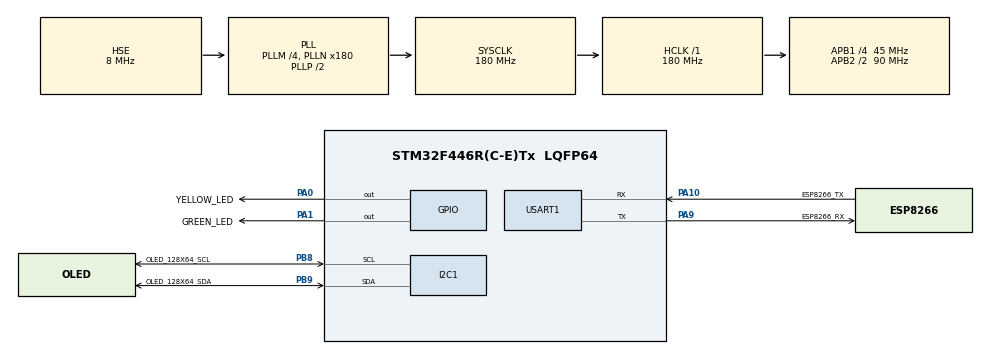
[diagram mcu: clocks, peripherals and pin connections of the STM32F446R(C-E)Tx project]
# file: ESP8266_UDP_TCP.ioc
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Dma.Request0=USART1_RX
Dma.USART1_RX.0.Direction=DMA_PERIPH_TO_MEMORY
Dma.USART1_RX.0.FIFOMode=DMA_FIFOMODE_DISABLE
Dma.USART1_RX.0.Instance=DMA2_Stream2
Dma.USART1_RX.0.MemDataAlignment=DMA_MDATAALIGN_BYTE
Dma.USART1_RX.0.MemInc=DMA_MINC_ENABLE
Dma.USART1_RX.0.Mode=DMA_NORMAL
Dma.USART1_RX.0.PeriphDataAlignment=DMA_PDATAALIGN_BYTE
Dma.USART1_RX.0.PeriphInc=DMA_PINC_DISABLE
Dma.USART1_RX.0.Priority=DMA_PRIORITY_LOW
I2C1.I2C_Mode=I2C_Fast
Mcu.Family=STM32F4
Mcu.Name=STM32F446R(C-E)Tx
Mcu.Package=LQFP64
NVIC.DMA2_Stream2_IRQn=true\:0\:0\:false\:false\:true\:false\:true\:true
NVIC.PriorityGroup=NVIC_PRIORITYGROUP_0
NVIC.RCC_IRQn=true\:0\:0\:false\:false\:true\:true\:false\:true
NVIC.USART1_IRQn=true\:0\:0\:false\:false\:true\:true\:true\:true
PA0-WKUP.GPIO_Label=YELLOW_LED
PA0-WKUP.Signal=GPIO_Output
PA1.GPIO_Label=GREEN_LED
PA1.Signal=GPIO_Output
PA10.GPIO_Label=ESP8266_TX
PA10.Mode=Asynchronous
PA10.Signal=USART1_RX
PA9.GPIO_Label=ESP8266_RX
PA9.Mode=Asynchronous
PA9.Signal=USART1_TX
PB8.GPIO_Label=OLED_128X64_SCL
PB8.Mode=I2C
PB8.Signal=I2C1_SCL
PB9.GPIO_Label=OLED_128X64_SDA
PB9.Mode=I2C
PB9.Signal=I2C1_SDA
PC14-OSC32_IN.Mode=LSE-External-Oscillator
PC14-OSC32_IN.Signal=RCC_OSC32_IN
PC15-OSC32_OUT.Mode=LSE-External-Oscillator
PC15-OSC32_OUT.Signal=RCC_OSC32_OUT
PH0-OSC_IN.Mode=HSE-External-Oscillator
PH0-OSC_IN.Signal=RCC_OSC_IN
PH1-OSC_OUT.Mode=HSE-External-Oscillator
PH1-OSC_OUT.Signal=RCC_OSC_OUT
ProjectManager.HeapSize=0x200
ProjectManager.StackSize=0x400
ProjectManager.TargetToolchain=STM32CubeIDE
RCC.48MHZClocksFreq_Value=84000000
RCC.AHBFreq_Value=180000000
RCC.APB1CLKDivider=RCC_HCLK_DIV4
RCC.APB1Freq_Value=45000000
RCC.APB1TimFreq_Value=90000000
RCC.APB2CLKDivider=RCC_HCLK_DIV2
RCC.APB2Freq_Value=90000000
RCC.APB2TimFreq_Value=180000000
RCC.CortexFreq_Value=180000000
RCC.FLatency-AdvancedSettings=FLASH_LATENCY_5
RCC.HCLKFreq_Value=180000000
RCC.HSE_VALUE=8000000
RCC.HSI_VALUE=16000000
RCC.PLLM=4
RCC.PLLN=180
RCC.PLLSourceVirtual=RCC_PLLSOURCE_HSE
RCC.SYSCLKFreq_VALUE=180000000
RCC.SYSCLKSource=RCC_SYSCLKSOURCE_PLLCLK
RCC.USBFreq_Value=180000000
RCC.VCOOutputFreq_Value=360000000
USART1.VirtualMode=VM_ASYNC
board=NUCLEO-F446RE

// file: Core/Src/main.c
/* USER CODE BEGIN Header */
/**
 ******************************************************************************
 * @file           : main.c
 * @brief          : Main program body
 ******************************************************************************
 * @attention
 *
 * Copyright (c) 2023 STMicroelectronics.
 * All rights reserved.
 *
 * This software is licensed under terms that can be found in the LICENSE file
 * in the root directory of this software component.
 * If no LICENSE file comes with this software, it is provided AS-IS.
 *
 ******************************************************************************
 */
/* USER CODE END Header */
#include "main.h"

/* USER CODE BEGIN Includes */
#include "ssd1306.h"
#include "fonts.h"
#include "esp8266.h"
#include <string.h>
#include <stdio.h>
/* USER CODE END Includes */

/* USER CODE BEGIN PD */

Control_Panel_Type panel={0};

/* USER CODE END PD */

/* USER CODE BEGIN PM */
extern char IP_Address[13];
/* USER CODE END PM */

I2C_HandleTypeDef hi2c1;
UART_HandleTypeDef huart1;
DMA_HandleTypeDef hdma_usart1_rx;

void SystemClock_Config(void);
static void MX_GPIO_Init(void);
static void MX_DMA_Init(void);
static void MX_USART1_UART_Init(void);
static void MX_I2C1_Init(void);

/* USER CODE BEGIN 0 */

extern int Command_Flag;

/* USER CODE END 0 */

int main(void)
{

  /* MCU Configuration--------------------------------------------------------*/

  /* Reset of all peripherals, Initializes the Flash interface and the Systick. */
  HAL_Init();

  /* Configure the system clock */
  SystemClock_Config();

  /* Initialize all configured peripherals */
  MX_GPIO_Init();
  MX_DMA_Init();
  MX_USART1_UART_Init();
  MX_I2C1_Init();
  /* USER CODE BEGIN 2 */
	JoinWifiNewtwork();               /*Connect to a WiFi access points*/
	Esp_Init_Com();
	if (ssd1306_Init(&hi2c1) != 0)
	{
		Error_Handler();
	}

	HAL_Delay(1000);
	ssd1306_Fill(Black);
	ssd1306_SetCursor(10, 0);
	ssd1306_WriteString("ASK EDISON", Font_11x18, White);
	ssd1306_SetCursor(30,30);
	ssd1306_WriteString("DO IT", Font_11x18, White);
	ssd1306_UpdateScreen(&hi2c1);
	HAL_Delay(5000);
	EspTcpServer();
  /* USER CODE END 2 */

  /* Infinite loop */
	while (1)
	{

    /* USER CODE BEGIN 3 */
		switch(Command_Flag)
		{
		case 0:
			ssd1306_Fill(Black);
			ssd1306_SetCursor(10,0);
			ssd1306_WriteString("TCP SERVER", Font_11x18,White);
			ssd1306_SetCursor(20,20);
			ssd1306_WriteString(IP_Address, Font_7x10, White);
			ssd1306_UpdateScreen(&hi2c1);
			break;
		case 1:
			ssd1306_Fill(Black);
			ssd1306_SetCursor(25,30);
			ssd1306_WriteString("CONNECTED!", Font_11x18,White);
			ssd1306_UpdateScreen(&hi2c1);
			break;
		case 2:
			Control_Panel(&panel);
			break;
		case 3:
			Control_Panel(&panel);
			break;
		case 4:
			ssd1306_Fill(Black);
			ssd1306_SetCursor(20,0);
			ssd1306_WriteString("OFFLINE!", Font_11x18,White);
			ssd1306_SetCursor(0,20);
			ssd1306_WriteString("CONNECT TO!", Font_11x18,White);
			ssd1306_SetCursor(10,50);
			ssd1306_WriteString(IP_Address, Font_7x10, White);
			ssd1306_UpdateScreen(&hi2c1);
			break;
		}
	}
  /* USER CODE END 3 */
}

void SystemClock_Config(void)
{
  RCC_OscInitTypeDef RCC_OscInitStruct = {0};
  RCC_ClkInitTypeDef RCC_ClkInitStruct = {0};

  /** Configure the main internal regulator output voltage
  */
  __HAL_RCC_PWR_CLK_ENABLE();
  __HAL_PWR_VOLTAGESCALING_CONFIG(PWR_REGULATOR_VOLTAGE_SCALE1);

  /** Initializes the RCC Oscillators according to the specified parameters
  * in the RCC_OscInitTypeDef structure.
  */
  RCC_OscInitStruct.OscillatorType = RCC_OSCILLATORTYPE_HSE;
  RCC_OscInitStruct.HSEState = RCC_HSE_ON;
  RCC_OscInitStruct.PLL.PLLState = RCC_PLL_ON;
  RCC_OscInitStruct.PLL.PLLSource = RCC_PLLSOURCE_HSE;
  RCC_OscInitStruct.PLL.PLLM = 4;
  RCC_OscInitStruct.PLL.PLLN = 180;
  RCC_OscInitStruct.PLL.PLLP = RCC_PLLP_DIV2;
  RCC_OscInitStruct.PLL.PLLQ = 2;
  RCC_OscInitStruct.PLL.PLLR = 2;
  if (HAL_RCC_OscConfig(&RCC_OscInitStruct) != HAL_OK)
  {
    Error_Handler();
  }

  /** Activate the Over-Drive mode
  */
  if (HAL_PWREx_EnableOverDrive() != HAL_OK)
  {
    Error_Handler();
  }

  /** Initializes the CPU, AHB and APB buses clocks
  */
  RCC_ClkInitStruct.ClockType = RCC_CLOCKTYPE_HCLK|RCC_CLOCKTYPE_SYSCLK
                              |RCC_CLOCKTYPE_PCLK1|RCC_CLOCKTYPE_PCLK2;
  RCC_ClkInitStruct.SYSCLKSource = RCC_SYSCLKSOURCE_PLLCLK;
  RCC_ClkInitStruct.AHBCLKDivider = RCC_SYSCLK_DIV1;
  RCC_ClkInitStruct.APB1CLKDivider = RCC_HCLK_DIV4;
  RCC_ClkInitStruct.APB2CLKDivider = RCC_HCLK_DIV2;

  if (HAL_RCC_ClockConfig(&RCC_ClkInitStruct, FLASH_LATENCY_5) != HAL_OK)
  {
    Error_Handler();
  }
}

static void MX_I2C1_Init(void)
{

  hi2c1.Instance = I2C1;
  hi2c1.Init.ClockSpeed = 400000;
  hi2c1.Init.DutyCycle = I2C_DUTYCYCLE_2;
  hi2c1.Init.OwnAddress1 = 0;
  hi2c1.Init.AddressingMode = I2C_ADDRESSINGMODE_7BIT;
  hi2c1.Init.DualAddressMode = I2C_DUALADDRESS_DISABLE;
  hi2c1.Init.OwnAddress2 = 0;
  hi2c1.Init.GeneralCallMode = I2C_GENERALCALL_DISABLE;
  hi2c1.Init.NoStretchMode = I2C_NOSTRETCH_DISABLE;
  if (HAL_I2C_Init(&hi2c1) != HAL_OK)
  {
    Error_Handler();
  }

}

static void MX_USART1_UART_Init(void)
{

  huart1.Instance = USART1;
  huart1.Init.BaudRate = 115200;
  huart1.Init.WordLength = UART_WORDLENGTH_8B;
  huart1.Init.StopBits = UART_STOPBITS_1;
  huart1.Init.Parity = UART_PARITY_NONE;
  huart1.Init.Mode = UART_MODE_TX_RX;
  huart1.Init.HwFlowCtl = UART_HWCONTROL_NONE;
  huart1.Init.OverSampling = UART_OVERSAMPLING_16;
  if (HAL_UART_Init(&huart1) != HAL_OK)
  {
    Error_Handler();
  }
  /* USER CODE BEGIN USART1_Init 2 */

	//  __HAL_UART_ENABLE_IT(&huart1,UART_IT_RXNE);

  /* USER CODE END USART1_Init 2 */

}

static void MX_DMA_Init(void)
{

  /* DMA controller clock enable */
  __HAL_RCC_DMA2_CLK_ENABLE();

  /* DMA interrupt init */
  /* DMA2_Stream2_IRQn interrupt configuration */
  HAL_NVIC_SetPriority(DMA2_Stream2_IRQn, 0, 0);
  HAL_NVIC_EnableIRQ(DMA2_Stream2_IRQn);

}

static void MX_GPIO_Init(void)
{
  GPIO_InitTypeDef GPIO_InitStruct = {0};

  /* GPIO Ports Clock Enable */
  __HAL_RCC_GPIOC_CLK_ENABLE();
  __HAL_RCC_GPIOH_CLK_ENABLE();
  __HAL_RCC_GPIOA_CLK_ENABLE();
  __HAL_RCC_GPIOB_CLK_ENABLE();

  /*Configure GPIO pin Output Level */
  HAL_GPIO_WritePin(GPIOA, YELLOW_LED_Pin|GREEN_LED_Pin, GPIO_PIN_RESET);

  /*Configure GPIO pins : YELLOW_LED_Pin GREEN_LED_Pin */
  GPIO_InitStruct.Pin = YELLOW_LED_Pin|GREEN_LED_Pin;
  GPIO_InitStruct.Mode = GPIO_MODE_OUTPUT_PP;
  GPIO_InitStruct.Pull = GPIO_NOPULL;
  GPIO_InitStruct.Speed = GPIO_SPEED_FREQ_LOW;
  HAL_GPIO_Init(GPIOA, &GPIO_InitStruct);

}

void Error_Handler(void)
{
	__disable_irq();
	while (1)
	{
	}
}
